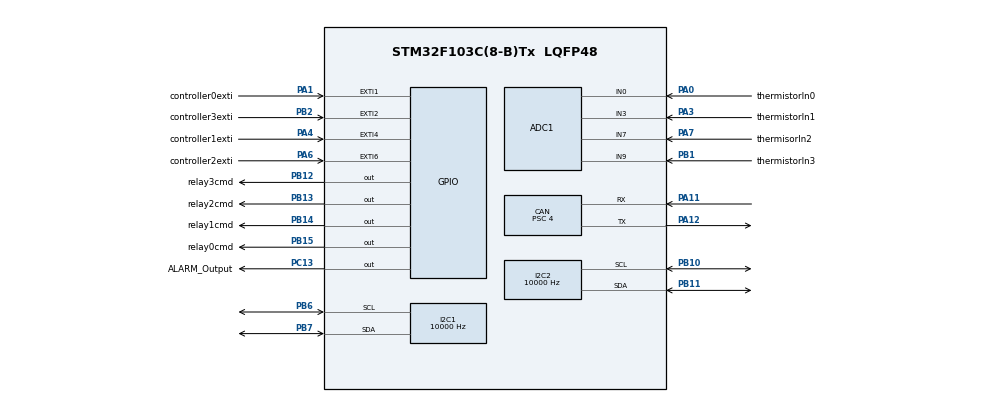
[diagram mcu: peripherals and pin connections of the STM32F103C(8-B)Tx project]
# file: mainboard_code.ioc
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ADC1.Channel-1\#ChannelRegularConversion=ADC_CHANNEL_0
ADC1.Channel-2\#ChannelRegularConversion=ADC_CHANNEL_3
ADC1.Channel-3\#ChannelRegularConversion=ADC_CHANNEL_7
ADC1.Channel-4\#ChannelRegularConversion=ADC_CHANNEL_9
ADC1.ContinuousConvMode=ENABLE
ADC1.NbrOfConversion=4
ADC1.NbrOfConversionFlag=1
ADC1.Rank-1\#ChannelRegularConversion=1
ADC1.Rank-2\#ChannelRegularConversion=2
ADC1.Rank-3\#ChannelRegularConversion=3
ADC1.Rank-4\#ChannelRegularConversion=4
ADC1.SamplingTime-1\#ChannelRegularConversion=ADC_SAMPLETIME_239CYCLES_5
ADC1.SamplingTime-2\#ChannelRegularConversion=ADC_SAMPLETIME_239CYCLES_5
ADC1.SamplingTime-3\#ChannelRegularConversion=ADC_SAMPLETIME_239CYCLES_5
ADC1.SamplingTime-4\#ChannelRegularConversion=ADC_SAMPLETIME_239CYCLES_5
ADC1.master=1
CAN.BS1=CAN_BS1_2TQ
CAN.CalculateBaudRate=500000
CAN.CalculateTimeBit=2000
CAN.CalculateTimeQuantum=500.0
CAN.NART=DISABLE
CAN.Prescaler=4
Dma.ADC1.0.Direction=DMA_PERIPH_TO_MEMORY
Dma.ADC1.0.Instance=DMA1_Channel1
Dma.ADC1.0.MemDataAlignment=DMA_MDATAALIGN_WORD
Dma.ADC1.0.MemInc=DMA_MINC_ENABLE
Dma.ADC1.0.Mode=DMA_CIRCULAR
Dma.ADC1.0.PeriphDataAlignment=DMA_PDATAALIGN_HALFWORD
Dma.ADC1.0.PeriphInc=DMA_PINC_DISABLE
Dma.ADC1.0.Priority=DMA_PRIORITY_LOW
Dma.Request0=ADC1
I2C1.ClockSpeed=10000
I2C2.ClockSpeed=10000
Mcu.Family=STM32F1
Mcu.Name=STM32F103C(8-B)Tx
Mcu.Package=LQFP48
NVIC.DMA1_Channel1_IRQn=true\:0\:0\:false\:false\:true\:false\:true\:true
NVIC.EXTI1_IRQn=true\:0\:0\:false\:false\:true\:true\:true\:true
NVIC.EXTI2_IRQn=true\:0\:0\:false\:false\:true\:true\:true\:true
NVIC.EXTI4_IRQn=true\:0\:0\:false\:false\:true\:true\:true\:true
NVIC.EXTI9_5_IRQn=true\:0\:0\:false\:false\:true\:true\:true\:true
NVIC.PriorityGroup=NVIC_PRIORITYGROUP_4
NVIC.USB_LP_CAN1_RX0_IRQn=true\:0\:0\:false\:false\:true\:true\:true\:true
PA0-WKUP.GPIO_Label=thermistorIn0
PA0-WKUP.Signal=ADCx_IN0
PA1.GPIO_Label=controller0exti
PA1.Signal=GPXTI1
PA11.Mode=CAN_Activate
PA11.Signal=CAN_RX
PA12.Mode=CAN_Activate
PA12.Signal=CAN_TX
PA13.Mode=Serial_Wire
PA13.Signal=SYS_JTMS-SWDIO
PA14.Mode=Serial_Wire
PA14.Signal=SYS_JTCK-SWCLK
PA3.GPIO_Label=thermistorIn1
PA3.Signal=ADCx_IN3
PA4.GPIO_Label=controller1exti
PA4.Signal=GPXTI4
PA6.GPIO_Label=controller2exti
PA6.Signal=GPXTI6
PA7.GPIO_Label=thermisorIn2
PA7.Signal=ADCx_IN7
PB1.GPIO_Label=thermistorIn3
PB1.Signal=ADCx_IN9
PB10.Mode=I2C
PB10.Signal=I2C2_SCL
PB11.Mode=I2C
PB11.Signal=I2C2_SDA
PB12.GPIO_Label=relay3cmd
PB12.GPIO_PuPd=GPIO_NOPULL
PB12.Signal=GPIO_Output
PB13.GPIO_Label=relay2cmd
PB13.GPIO_PuPd=GPIO_NOPULL
PB13.Signal=GPIO_Output
PB14.GPIO_Label=relay1cmd
PB14.GPIO_PuPd=GPIO_NOPULL
PB14.Signal=GPIO_Output
PB15.GPIO_Label=relay0cmd
PB15.GPIO_PuPd=GPIO_NOPULL
PB15.Signal=GPIO_Output
PB2.GPIO_Label=controller3exti
PB2.Signal=GPXTI2
PB6.Mode=I2C
PB6.Signal=I2C1_SCL
PB7.Mode=I2C
PB7.Signal=I2C1_SDA
PC13-TAMPER-RTC.GPIO_Label=ALARM_Output
PC13-TAMPER-RTC.GPIO_PuPd=GPIO_NOPULL
PC13-TAMPER-RTC.Signal=GPIO_Output
ProjectManager.HeapSize=0x200
ProjectManager.StackSize=0x400
ProjectManager.TargetToolchain=Makefile
RCC.APB1Freq_Value=8000000
RCC.APB2Freq_Value=8000000
SH.ADCx_IN0.0=ADC1_IN0,IN0
SH.ADCx_IN3.0=ADC1_IN3,IN3
SH.ADCx_IN7.0=ADC1_IN7,IN7
SH.ADCx_IN9.0=ADC1_IN9,IN9
board=custom

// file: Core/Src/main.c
/* USER CODE BEGIN Header */
/**
 ******************************************************************************
 * @file           : main.c
 * @brief          : Main program body
 ******************************************************************************
 * @attention
 *
 * Copyright (c) 2024 STMicroelectronics.
 * All rights reserved.
 *
 * This software is licensed under terms that can be found in the LICENSE file
 * in the root directory of this software component.
 * If no LICENSE file comes with this software, it is provided AS-IS.
 *
 ******************************************************************************
 */
/* USER CODE END Header */
#include "main.h"

/* USER CODE BEGIN Includes */
#include "mymain.h"

/* USER CODE END Includes */

ADC_HandleTypeDef hadc1;
DMA_HandleTypeDef hdma_adc1;

CAN_HandleTypeDef hcan;

I2C_HandleTypeDef hi2c1;
I2C_HandleTypeDef hi2c2;

void SystemClock_Config(void);
static void MX_GPIO_Init(void);
static void MX_DMA_Init(void);
static void MX_CAN_Init(void);
static void MX_I2C1_Init(void);
static void MX_I2C2_Init(void);
static void MX_ADC1_Init(void);

int main(void) {

	/* MCU Configuration--------------------------------------------------------*/

	/* Reset of all peripherals, Initializes the Flash interface and the Systick. */
	HAL_Init();

	/* Configure the system clock */
	SystemClock_Config();

	/* Initialize all configured peripherals */
	MX_GPIO_Init();
	MX_DMA_Init();
	MX_CAN_Init();
	MX_I2C1_Init();
	MX_I2C2_Init();
	MX_ADC1_Init();
	/* USER CODE BEGIN 2 */
	mymain();

	/* USER CODE END 2 */

	/* Infinite loop */
	while (1) {

	}
}

void SystemClock_Config(void) {
	RCC_OscInitTypeDef RCC_OscInitStruct = {0};
	RCC_ClkInitTypeDef RCC_ClkInitStruct = {0};
	RCC_PeriphCLKInitTypeDef PeriphClkInit = {0};

	/** Initializes the RCC Oscillators according to the specified parameters
	 * in the RCC_OscInitTypeDef structure.
	 */
	RCC_OscInitStruct.OscillatorType = RCC_OSCILLATORTYPE_HSI;
	RCC_OscInitStruct.HSIState = RCC_HSI_ON;
	RCC_OscInitStruct.HSICalibrationValue = RCC_HSICALIBRATION_DEFAULT;
	RCC_OscInitStruct.PLL.PLLState = RCC_PLL_NONE;
	if (HAL_RCC_OscConfig(&RCC_OscInitStruct) != HAL_OK) {
		Error_Handler();
	}

	/** Initializes the CPU, AHB and APB buses clocks
	 */
	RCC_ClkInitStruct.ClockType = RCC_CLOCKTYPE_HCLK | RCC_CLOCKTYPE_SYSCLK | RCC_CLOCKTYPE_PCLK1 | RCC_CLOCKTYPE_PCLK2;
	RCC_ClkInitStruct.SYSCLKSource = RCC_SYSCLKSOURCE_HSI;
	RCC_ClkInitStruct.AHBCLKDivider = RCC_SYSCLK_DIV1;
	RCC_ClkInitStruct.APB1CLKDivider = RCC_HCLK_DIV1;
	RCC_ClkInitStruct.APB2CLKDivider = RCC_HCLK_DIV1;

	if (HAL_RCC_ClockConfig(&RCC_ClkInitStruct, FLASH_LATENCY_0) != HAL_OK) {
		Error_Handler();
	}
	PeriphClkInit.PeriphClockSelection = RCC_PERIPHCLK_ADC;
	PeriphClkInit.AdcClockSelection = RCC_ADCPCLK2_DIV2;
	if (HAL_RCCEx_PeriphCLKConfig(&PeriphClkInit) != HAL_OK) {
		Error_Handler();
	}
}

static void MX_ADC1_Init(void) {

	ADC_ChannelConfTypeDef sConfig = {0};

	/** Common config
	 */
	hadc1.Instance = ADC1;
	hadc1.Init.ScanConvMode = ADC_SCAN_ENABLE;
	hadc1.Init.ContinuousConvMode = ENABLE;
	hadc1.Init.DiscontinuousConvMode = DISABLE;
	hadc1.Init.ExternalTrigConv = ADC_SOFTWARE_START;
	hadc1.Init.DataAlign = ADC_DATAALIGN_RIGHT;
	hadc1.Init.NbrOfConversion = 4;
	if (HAL_ADC_Init(&hadc1) != HAL_OK) {
		Error_Handler();
	}

	/** Configure Regular Channel
	 */
	sConfig.Channel = ADC_CHANNEL_0;
	sConfig.Rank = ADC_REGULAR_RANK_1;
	sConfig.SamplingTime = ADC_SAMPLETIME_239CYCLES_5;
	if (HAL_ADC_ConfigChannel(&hadc1, &sConfig) != HAL_OK) {
		Error_Handler();
	}

	/** Configure Regular Channel
	 */
	sConfig.Channel = ADC_CHANNEL_3;
	sConfig.Rank = ADC_REGULAR_RANK_2;
	if (HAL_ADC_ConfigChannel(&hadc1, &sConfig) != HAL_OK) {
		Error_Handler();
	}

	/** Configure Regular Channel
	 */
	sConfig.Channel = ADC_CHANNEL_7;
	sConfig.Rank = ADC_REGULAR_RANK_3;
	if (HAL_ADC_ConfigChannel(&hadc1, &sConfig) != HAL_OK) {
		Error_Handler();
	}

	/** Configure Regular Channel
	 */
	sConfig.Channel = ADC_CHANNEL_9;
	sConfig.Rank = ADC_REGULAR_RANK_4;
	if (HAL_ADC_ConfigChannel(&hadc1, &sConfig) != HAL_OK) {
		Error_Handler();
	}
}

static void MX_CAN_Init(void) {

	hcan.Instance = CAN1;
	hcan.Init.Prescaler = 4;
	hcan.Init.Mode = CAN_MODE_NORMAL;
	hcan.Init.SyncJumpWidth = CAN_SJW_1TQ;
	hcan.Init.TimeSeg1 = CAN_BS1_2TQ;
	hcan.Init.TimeSeg2 = CAN_BS2_1TQ;
	hcan.Init.TimeTriggeredMode = DISABLE;
	hcan.Init.AutoBusOff = DISABLE;
	hcan.Init.AutoWakeUp = DISABLE;
	hcan.Init.AutoRetransmission = DISABLE;
	hcan.Init.ReceiveFifoLocked = DISABLE;
	hcan.Init.TransmitFifoPriority = DISABLE;
	if (HAL_CAN_Init(&hcan) != HAL_OK) {
		Error_Handler();
	}
	/* USER CODE BEGIN CAN_Init 2 */
	CAN_FilterTypeDef canFilterConfig;

	canFilterConfig.FilterMode = CAN_FILTERMODE_IDMASK;
	canFilterConfig.FilterIdLow = 0x0000;
	canFilterConfig.FilterIdHigh = 0x0000;
	canFilterConfig.FilterMaskIdLow = 0x0000;
	canFilterConfig.FilterMaskIdHigh = 0x0000;
	canFilterConfig.FilterFIFOAssignment = CAN_FilterFIFO0;
	canFilterConfig.FilterScale = CAN_FILTERSCALE_32BIT;
	canFilterConfig.FilterActivation = CAN_FILTER_ENABLE;
	canFilterConfig.FilterBank = 0;

	if (HAL_CAN_ConfigFilter(&hcan, &canFilterConfig) != HAL_OK) {
		Error_Handler();
	}

	if (HAL_CAN_Start(&hcan) != HAL_OK) {
		Error_Handler();
	}

	if (HAL_CAN_ActivateNotification(&hcan, CAN_IT_RX_FIFO0_MSG_PENDING) != HAL_OK) {
		Error_Handler();
	}

	/* USER CODE END CAN_Init 2 */
}

static void MX_I2C1_Init(void) {

	hi2c1.Instance = I2C1;
	hi2c1.Init.ClockSpeed = 10000;
	hi2c1.Init.DutyCycle = I2C_DUTYCYCLE_2;
	hi2c1.Init.OwnAddress1 = 0;
	hi2c1.Init.AddressingMode = I2C_ADDRESSINGMODE_7BIT;
	hi2c1.Init.DualAddressMode = I2C_DUALADDRESS_DISABLE;
	hi2c1.Init.OwnAddress2 = 0;
	hi2c1.Init.GeneralCallMode = I2C_GENERALCALL_DISABLE;
	hi2c1.Init.NoStretchMode = I2C_NOSTRETCH_DISABLE;
	if (HAL_I2C_Init(&hi2c1) != HAL_OK) {
		Error_Handler();
	}
}

static void MX_I2C2_Init(void) {

	hi2c2.Instance = I2C2;
	hi2c2.Init.ClockSpeed = 10000;
	hi2c2.Init.DutyCycle = I2C_DUTYCYCLE_2;
	hi2c2.Init.OwnAddress1 = 0;
	hi2c2.Init.AddressingMode = I2C_ADDRESSINGMODE_7BIT;
	hi2c2.Init.DualAddressMode = I2C_DUALADDRESS_DISABLE;
	hi2c2.Init.OwnAddress2 = 0;
	hi2c2.Init.GeneralCallMode = I2C_GENERALCALL_DISABLE;
	hi2c2.Init.NoStretchMode = I2C_NOSTRETCH_DISABLE;
	if (HAL_I2C_Init(&hi2c2) != HAL_OK) {
		Error_Handler();
	}
}

static void MX_DMA_Init(void) {
	/* DMA controller clock enable */
	__HAL_RCC_DMA1_CLK_ENABLE();

	/* DMA interrupt init */
	/* DMA1_Channel1_IRQn interrupt configuration */
	HAL_NVIC_SetPriority(DMA1_Channel1_IRQn, 0, 0);
	HAL_NVIC_EnableIRQ(DMA1_Channel1_IRQn);
}

static void MX_GPIO_Init(void) {
	GPIO_InitTypeDef GPIO_InitStruct = {0};

	/* GPIO Ports Clock Enable */
	__HAL_RCC_GPIOC_CLK_ENABLE();
	__HAL_RCC_GPIOA_CLK_ENABLE();
	__HAL_RCC_GPIOB_CLK_ENABLE();

	/*Configure GPIO pin Output Level */
	HAL_GPIO_WritePin(ALARM_Output_GPIO_Port, ALARM_Output_Pin, GPIO_PIN_RESET);

	/*Configure GPIO pin Output Level */
	HAL_GPIO_WritePin(GPIOB, relay3cmd_Pin | relay2cmd_Pin | relay1cmd_Pin | relay0cmd_Pin, GPIO_PIN_RESET);

	/*Configure GPIO pin : ALARM_Output_Pin */
	GPIO_InitStruct.Pin = ALARM_Output_Pin;
	GPIO_InitStruct.Mode = GPIO_MODE_OUTPUT_PP;
	GPIO_InitStruct.Pull = GPIO_NOPULL;
	GPIO_InitStruct.Speed = GPIO_SPEED_FREQ_LOW;
	HAL_GPIO_Init(ALARM_Output_GPIO_Port, &GPIO_InitStruct);

	/*Configure GPIO pins : controller0exti_Pin controller1exti_Pin controller2exti_Pin */
	GPIO_InitStruct.Pin = controller0exti_Pin | controller1exti_Pin | controller2exti_Pin;
	GPIO_InitStruct.Mode = GPIO_MODE_IT_RISING;
	GPIO_InitStruct.Pull = GPIO_NOPULL;
	HAL_GPIO_Init(GPIOA, &GPIO_InitStruct);

	/*Configure GPIO pin : controller3exti_Pin */
	GPIO_InitStruct.Pin = controller3exti_Pin;
	GPIO_InitStruct.Mode = GPIO_MODE_IT_RISING;
	GPIO_InitStruct.Pull = GPIO_NOPULL;
	HAL_GPIO_Init(controller3exti_GPIO_Port, &GPIO_InitStruct);

	/*Configure GPIO pins : relay3cmd_Pin relay2cmd_Pin relay1cmd_Pin relay0cmd_Pin */
	GPIO_InitStruct.Pin = relay3cmd_Pin | relay2cmd_Pin | relay1cmd_Pin | relay0cmd_Pin;
	GPIO_InitStruct.Mode = GPIO_MODE_OUTPUT_PP;
	GPIO_InitStruct.Pull = GPIO_NOPULL;
	GPIO_InitStruct.Speed = GPIO_SPEED_FREQ_LOW;
	HAL_GPIO_Init(GPIOB, &GPIO_InitStruct);

	/* EXTI interrupt init*/
	// HAL_NVIC_SetPriority(EXTI1_IRQn, 0, 0);
	// HAL_NVIC_EnableIRQ(EXTI1_IRQn);

	// HAL_NVIC_SetPriority(EXTI2_IRQn, 0, 0);
	// HAL_NVIC_EnableIRQ(EXTI2_IRQn);

	// HAL_NVIC_SetPriority(EXTI4_IRQn, 0, 0);
	// HAL_NVIC_EnableIRQ(EXTI4_IRQn);

	// HAL_NVIC_SetPriority(EXTI9_5_IRQn, 0, 0);
	// HAL_NVIC_EnableIRQ(EXTI9_5_IRQn);

}

void Error_Handler(void) {
	__disable_irq();
	while (1) {
	}
}
